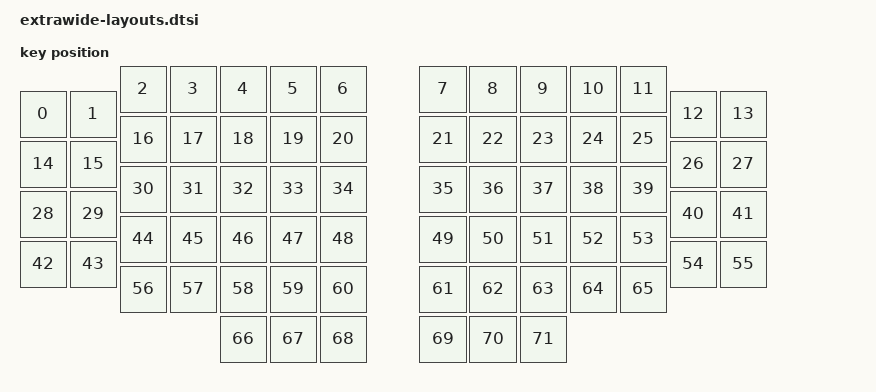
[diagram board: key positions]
// See https://zmk.dev/docs/development/hardware-integration/physical-layouts
// for how to configure this.

#include <physical_layouts.dtsi>

// https://zmk-physical-layout-converter.streamlit.app/?layout=H4sIAAAAAAACA4XRsQrCQBCE4d6nOFIHyezuiVr7FmKRQquAhQkYQt7dGEIUEf7q7na2OOYbNikVTd3fu_ZRHNMwPafB6Xqru6ZdB-vONDkvk5SGVDynQbWtylT08y2nsfzNBbl95dWf3CEPyDPkO8j3kB8gV0ULogWqSE4GAQufPwoQBYgCRAGiAFGAKEAUIIoQRYgiRBGiCFGAaIBogGiAaIBogGiAaIBogGiEaIRohGiEaIRogOiA6IDogOiA6IDogOiA6IDohOiE6ITohOiESAgBCAEIAQgBCAEIAQhBCEEIQQhUQYYKMlSQoYIMFWSqYF5Y8st8vl_jZnwBymjj9l4JAAA%3D


/ {
    physical_layout0: physical_layout_0 {
        compatible = "zmk,physical-layout";
        display-name = "Default";

        kscan = <&kscan0>;
        transform = <&default_transform>;

        keys  //                     w   h    x    y     rot    rx    ry
            = <&key_physical_attrs 100 100    0   50       0     0     0>
            , <&key_physical_attrs 100 100  100   50       0     0     0>
            , <&key_physical_attrs 100 100  200    0       0     0     0>
            , <&key_physical_attrs 100 100  300    0       0     0     0>
            , <&key_physical_attrs 100 100  400    0       0     0     0>
            , <&key_physical_attrs 100 100  500    0       0     0     0>
            , <&key_physical_attrs 100 100  600    0       0     0     0>
            , <&key_physical_attrs 100 100  800    0       0     0     0>
            , <&key_physical_attrs 100 100  900    0       0     0     0>
            , <&key_physical_attrs 100 100 1000    0       0     0     0>
            , <&key_physical_attrs 100 100 1100    0       0     0     0>
            , <&key_physical_attrs 100 100 1200    0       0     0     0>
            , <&key_physical_attrs 100 100 1300   50       0     0     0>
            , <&key_physical_attrs 100 100 1400   50       0     0     0>
            , <&key_physical_attrs 100 100    0  150       0     0     0>
            , <&key_physical_attrs 100 100  100  150       0     0     0>
            , <&key_physical_attrs 100 100  200  100       0     0     0>
            , <&key_physical_attrs 100 100  300  100       0     0     0>
            , <&key_physical_attrs 100 100  400  100       0     0     0>
            , <&key_physical_attrs 100 100  500  100       0     0     0>
            , <&key_physical_attrs 100 100  600  100       0     0     0>
            , <&key_physical_attrs 100 100  800  100       0     0     0>
            , <&key_physical_attrs 100 100  900  100       0     0     0>
            , <&key_physical_attrs 100 100 1000  100       0     0     0>
            , <&key_physical_attrs 100 100 1100  100       0     0     0>
            , <&key_physical_attrs 100 100 1200  100       0     0     0>
            , <&key_physical_attrs 100 100 1300  150       0     0     0>
            , <&key_physical_attrs 100 100 1400  150       0     0     0>
            , <&key_physical_attrs 100 100    0  250       0     0     0>
            , <&key_physical_attrs 100 100  100  250       0     0     0>
            , <&key_physical_attrs 100 100  200  200       0     0     0>
            , <&key_physical_attrs 100 100  300  200       0     0     0>
            , <&key_physical_attrs 100 100  400  200       0     0     0>
            , <&key_physical_attrs 100 100  500  200       0     0     0>
            , <&key_physical_attrs 100 100  600  200       0     0     0>
            , <&key_physical_attrs 100 100  800  200       0     0     0>
            , <&key_physical_attrs 100 100  900  200       0     0     0>
            , <&key_physical_attrs 100 100 1000  200       0     0     0>
            , <&key_physical_attrs 100 100 1100  200       0     0     0>
            , <&key_physical_attrs 100 100 1200  200       0     0     0>
            , <&key_physical_attrs 100 100 1300  250       0     0     0>
            , <&key_physical_attrs 100 100 1400  250       0     0     0>
            , <&key_physical_attrs 100 100    0  350       0     0     0>
            , <&key_physical_attrs 100 100  100  350       0     0     0>
            , <&key_physical_attrs 100 100  200  300       0     0     0>
            , <&key_physical_attrs 100 100  300  300       0     0     0>
            , <&key_physical_attrs 100 100  400  300       0     0     0>
            , <&key_physical_attrs 100 100  500  300       0     0     0>
            , <&key_physical_attrs 100 100  600  300       0     0     0>
            , <&key_physical_attrs 100 100  800  300       0     0     0>
            , <&key_physical_attrs 100 100  900  300       0     0     0>
            , <&key_physical_attrs 100 100 1000  300       0     0     0>
            , <&key_physical_attrs 100 100 1100  300       0     0     0>
            , <&key_physical_attrs 100 100 1200  300       0     0     0>
            , <&key_physical_attrs 100 100 1300  350       0     0     0>
            , <&key_physical_attrs 100 100 1400  350       0     0     0>
            , <&key_physical_attrs 100 100  200  400       0     0     0>
            , <&key_physical_attrs 100 100  300  400       0     0     0>
            , <&key_physical_attrs 100 100  400  400       0     0     0>
            , <&key_physical_attrs 100 100  500  400       0     0     0>
            , <&key_physical_attrs 100 100  600  400       0     0     0>
            , <&key_physical_attrs 100 100  800  400       0     0     0>
            , <&key_physical_attrs 100 100  900  400       0     0     0>
            , <&key_physical_attrs 100 100 1000  400       0     0     0>
            , <&key_physical_attrs 100 100 1100  400       0     0     0>
            , <&key_physical_attrs 100 100 1200  400       0     0     0>
            , <&key_physical_attrs 100 100  400  500       0     0     0>
            , <&key_physical_attrs 100 100  500  500       0     0     0>
            , <&key_physical_attrs 100 100  600  500       0     0     0>
            , <&key_physical_attrs 100 100  800  500       0     0     0>
            , <&key_physical_attrs 100 100  900  500       0     0     0>
            , <&key_physical_attrs 100 100 1000  500       0     0     0>
            ;
    };

    position_map {
        compatible = "zmk,physical-layout-position-map";

        complete;

        physical_layout0 {
            physical-layout = <&physical_layout0>;
            positions //               |
                = <0  1  2  3  4  5  6  7  8  9  10 11 12 13>
                , <14 15 16 17 18 19 20 21 22 23 24 25 26 27>
                , <28 29 30 31 32 33 34 35 36 37 38 39 40 41>
                , <42 43 44 45 46 47 48 49 50 51 52 53 54 55>
                , <      56 57 58 59 60 61 62 63 64 65     >
                , <            66 67 68 69 70 71           >;
        };
    };
};

// &position_map {
//     physical_layout0 {
//         physical-layout = <&physical_layout0>;
//         positions //               |
//             = <0  1  2  3  4  5  6  7  8  9  10 11 12 13>
//             , <14 15 16 17 18 19 20 21 22 23 24 25 26 27>
//             , <28 29 30 31 32 33 34 35 36 37 38 39 40 41>
//             , <42 43 44 45 46 47 48 49 50 51 52 53 54 55>
//             , <      56 57 58 59 60 61 62 63 64 65     >
//             , <            66 67 68 69 70 71           >;
//     };
// };
